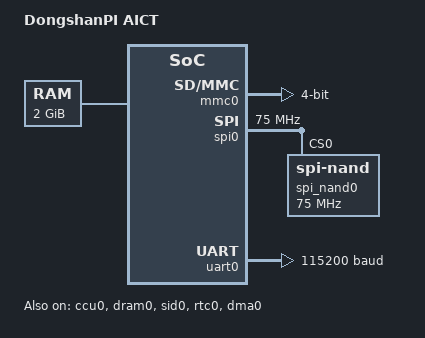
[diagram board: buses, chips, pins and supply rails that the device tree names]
// SPDX-License-Identifier: GPL-2.0+
/dts-v1/;

#include <dt-bindings/gpio/sunxi-gpio.h>

/ {
	#address-cells = <1>;
	#size-cells = <1>;
	model = "DongshanPI AICT";
	compatible = "syterkit,dongshanpi-aict";

	aliases {
		ccu0 = &ccu0;
		sid0 = &sid0;
		dma0 = &dma0;
		dram0 = &dram0;
		mmc0 = &mmc0;
		rtc0 = &rtc0;
		spi0 = &spi0;
		spi-nand0 = &spi_nand0;
	};

	chosen {
		stdout-path = &uart0;
	};

	ccu0: clock-controller@2001000 {
		compatible = "allwinner,sun8iw21-ccu";
		reg = <0x02001000 0x1000>;
		reg-names = "ccu";
		status = "okay";
	};

	dram_memory: memory@40000000 {
		device_type = "memory";
		reg = <0x40000000 0x80000000>;
	};

	dram0: dram-controller {
		compatible = "allwinner,sun8iw21-dram";
		allwinner,dram-memory = <&dram_memory>;
		reg =
			<0x02001000 0x1000>,
			<0x03102000 0x1000>,
			<0x03103000 0x1000>,
			<0x03000000 0x1000>,
			<0x03006000 0x1000>,
			<0x07000400 0x400>,
			<0x07010000 0x400>;
		allwinner,dram-parameters =
			<936 3 0x007b7bfb 1 0x000010f2 0>,
			<0x00001c70 0x00000042 0x00000018 0 0x004a2195 0x02423190>,
			<0x0008b061 0xb4787896 0 0x48484848 0x00000048 0x1621121e>,
			<0 0 0 0x00420000 0x00000048 0x34010100>;
		allwinner,rtc = <&rtc0>;
		status = "okay";
	};

	pio: pinctrl@2000000 {
		compatible = "allwinner,sunxi-pinctrl";
		reg = <0x02000000 0x1000>;
		allwinner,bank-base = <SUNXI_GPIO_PORT_A>;
		allwinner,bank-count = <11>;
		gpio-controller;
		#gpio-cells = <3>;

		mmc0_pins: mmc0-pins {
			allwinner,pins =
				<SUNXI_GPIO_PORT_F 2 2>,
				<SUNXI_GPIO_PORT_F 3 2>,
				<SUNXI_GPIO_PORT_F 1 2>,
				<SUNXI_GPIO_PORT_F 0 2>,
				<SUNXI_GPIO_PORT_F 5 2>,
				<SUNXI_GPIO_PORT_F 4 2>;
		};

		spi0_pins: spi0-pins {
			allwinner,pins =
				<SUNXI_GPIO_PORT_C 1 4>,
				<SUNXI_GPIO_PORT_C 0 4>,
				<SUNXI_GPIO_PORT_C 2 4>,
				<SUNXI_GPIO_PORT_C 3 4>,
				<SUNXI_GPIO_PORT_C 4 4>,
				<SUNXI_GPIO_PORT_C 5 4>;
		};

		uart0_pins: uart0-pins {
			allwinner,pins =
				<SUNXI_GPIO_PORT_H 9 5>,
				<SUNXI_GPIO_PORT_H 10 5>;
		};
	};

	reserved-memory {
		#address-cells = <1>;
		#size-cells = <1>;
		ranges;

		mmc0_dma: dma-descriptors@40700000 {
			reg = <0x40700000 0x100000>;
			no-map;
		};
	};

	soc {
		compatible = "simple-bus";
		#address-cells = <1>;
		#size-cells = <1>;
		ranges;

		sid0: efuse@3006000 {
			compatible = "allwinner,sunxi-sid";
			reg = <0x03006000 0x400>;
			allwinner,efuse-hv-switch = <0x07090204>;
			status = "okay";
		};

		rtc0: rtc@7090100 {
			compatible = "allwinner,sunxi-rtc";
			reg = <0x07090100 0x100>;
			status = "okay";
		};

		dma0: dma-controller@3002000 {
			compatible = "allwinner,sunxi-dma";
			reg = <0x03002000 0x1000>;
			#dma-cells = <1>;
			allwinner,mbus-clock-gate = <0x02001804 0>;
			allwinner,clock-gate = <0x0200170c 0>;
			allwinner,reset = <0x0200170c 16>;
			status = "okay";
		};

		mmc0: mmc@4020000 {
			compatible = "allwinner,sunxi-mmc";
			reg = <0x04020000 0x1000>;
			label = "sdhci0";
			allwinner,mmc-id = <0>;
			bus-width = <4>;
			max-frequency = <50000000>;
			memory-region = <&mmc0_dma>;
			allwinner,clock-gate = <0x0200184c 0>;
			allwinner,reset = <0x0200184c 16>;
			allwinner,module-clock =
				<0x02001830 8 0 1>;
			allwinner,clock-source-rates =
				<24000000 400000000 300000000 0>;
			pinctrl-names = "default";
			pinctrl-0 = <&mmc0_pins>;
			status = "okay";
		};

		spi0: spi@4025000 {
			compatible = "allwinner,sunxi-spi";
			#address-cells = <1>;
			#size-cells = <0>;
			allwinner,spi-id = <0>;
			reg = <0x04025000 0x1000>;
			clock-frequency = <75000000>;
			allwinner,module-clock = <0x02001940 1 8 300000000 0>;
			allwinner,clock-gate = <0x0200196c 0>;
			allwinner,reset = <0x0200196c 16>;
			dmas = <&dma0 22>;
			dma-names = "rx";
			pinctrl-names = "default";
			pinctrl-0 = <&spi0_pins>;
			status = "okay";

			spi_nand0: flash@0 {
				compatible = "spi-nand";
				reg = <0>;
				spi-max-frequency = <75000000>;
			};
		};

		uart0: serial@2500000 {
			compatible = "allwinner,sunxi-uart";
			reg = <0x02500000 0x400>;
			current-speed = <115200>;
			clock-frequency = <24000000>;
			allwinner,uart-id = <0>;
			allwinner,clock-gate = <0x0200190c 0>;
			allwinner,reset = <0x0200190c 16>;
			pinctrl-names = "default";
			pinctrl-0 = <&uart0_pins>;
			status = "okay";
		};
	};
};
